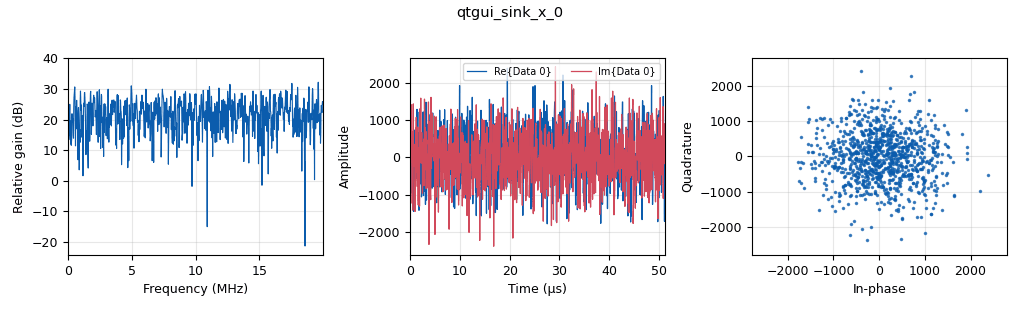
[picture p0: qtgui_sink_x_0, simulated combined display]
<?xml version='1.0' encoding='utf-8'?>
<?grc format='1' created='3.7.11'?>
<flow_graph>
<block>
<key>options</key>
<param><key>id</key><value>top_block</value></param>
<param><key>generate_options</key><value>qt_gui</value></param>
</block>
<block>
<key>variable</key>
<param><key>id</key><value>center_freq</value></param>
<param><key>value</key><value>freq_min+samp_rate/2</value></param>
</block>
<block>
<key>variable</key>
<param><key>id</key><value>freq_max</value></param>
<param><key>value</key><value>gui_freq_max*1e6</value></param>
</block>
<block>
<key>variable</key>
<param><key>id</key><value>freq_min</value></param>
<param><key>value</key><value>gui_freq_min*1e6</value></param>
</block>
<block>
<key>variable_qtgui_range</key>
<param><key>id</key><value>gui_freq_max</value></param>
<param><key>value</key><value>gui_freq_min+samp_rate/1e6</value></param>
<param><key>label</key><value>Higher Frequency (MHz)</value></param>
<param><key>orient</key><value>Qt.Horizontal</value></param>
<param><key>start</key><value>gui_freq_min+samp_rate/1e6</value></param>
<param><key>step</key><value>samp_rate/1e6</value></param>
<param><key>stop</key><value>6000</value></param>
</block>
<block>
<key>variable_qtgui_range</key>
<param><key>id</key><value>gui_freq_min</value></param>
<param><key>value</key><value>0</value></param>
<param><key>label</key><value>Lower Frequency (MHz)</value></param>
<param><key>orient</key><value>Qt.Horizontal</value></param>
<param><key>start</key><value>0</value></param>
<param><key>step</key><value>samp_rate/1e6</value></param>
<param><key>stop</key><value>6000-samp_rate/1e6</value></param>
</block>
<block>
<key>variable_qtgui_range</key>
<param><key>id</key><value>gui_if_gain</value></param>
<param><key>value</key><value>47</value></param>
<param><key>label</key><value>IF Gain (db)</value></param>
<param><key>min_len</key><value>47</value></param>
<param><key>orient</key><value>Qt.Horizontal</value></param>
<param><key>start</key><value>0</value></param>
<param><key>step</key><value>1</value></param>
<param><key>stop</key><value>47</value></param>
</block>
<block>
<key>variable_qtgui_chooser</key>
<param><key>id</key><value>gui_jam_mode</value></param>
<param><key>value</key><value>1</value></param>
<param><key>label0</key><value>Fixed Band (20 MHz)</value></param>
<param><key>label1</key><value>Continuous </value></param>
<param><key>label</key><value>Jammer Mode</value></param>
<param><key>num_opts</key><value>2</value></param>
<param><key>option0</key><value>1</value></param>
<param><key>option1</key><value>2</value></param>
<param><key>orient</key><value>Qt.QHBoxLayout</value></param>
<param><key>type</key><value>int</value></param>
</block>
<block>
<key>variable_qtgui_chooser</key>
<param><key>id</key><value>gui_rf_gain</value></param>
<param><key>value</key><value>14</value></param>
<param><key>label0</key><value>0 db</value></param>
<param><key>label1</key><value>14 db</value></param>
<param><key>label</key><value>RF Gain (db)</value></param>
<param><key>num_opts</key><value>2</value></param>
<param><key>option0</key><value>0</value></param>
<param><key>option1</key><value>14</value></param>
<param><key>orient</key><value>Qt.QHBoxLayout</value></param>
<param><key>type</key><value>int</value></param>
<param><key>widget</key><value>radio_buttons</value></param>
</block>
<block>
<key>variable_qtgui_chooser</key>
<param><key>id</key><value>gui_samp_rate</value></param>
<param><key>value</key><value>20</value></param>
<param><key>label0</key><value>10 Msps</value></param>
<param><key>label1</key><value>20 Msps</value></param>
<param><key>label</key><value>Sample Rate</value></param>
<param><key>num_opts</key><value>2</value></param>
<param><key>option0</key><value>10</value></param>
<param><key>option1</key><value>20</value></param>
<param><key>orient</key><value>Qt.QHBoxLayout</value></param>
<param><key>type</key><value>int</value></param>
</block>
<block>
<key>variable_qtgui_range</key>
<param><key>id</key><value>gui_time_switch</value></param>
<param><key>value</key><value>50</value></param>
<param><key>label</key><value>Frequency Switch Time (ms)</value></param>
<param><key>orient</key><value>Qt.Horizontal</value></param>
<param><key>start</key><value>50</value></param>
<param><key>step</key><value>50</value></param>
<param><key>stop</key><value>1500</value></param>
</block>
<block>
<key>variable_qtgui_range</key>
<param><key>id</key><value>jammer_amp</value></param>
<param><key>value</key><value>50</value></param>
<param><key>orient</key><value>Qt.Horizontal</value></param>
<param><key>start</key><value>1</value></param>
<param><key>step</key><value>1</value></param>
<param><key>stop</key><value>100</value></param>
</block>
<block>
<key>variable</key>
<param><key>id</key><value>samp_rate</value></param>
<param><key>value</key><value>gui_samp_rate*1e6</value></param>
</block>
<block>
<key>variable_qtgui_chooser</key>
<param><key>id</key><value>variable_qtgui_chooser_0</value></param>
<param><key>value</key><value>0</value></param>
<param><key>label0</key><value>433 MHz</value></param>
<param><key>label1</key><value>868 MHz</value></param>
<param><key>label2</key><value>Wifi 2.4GHz</value></param>
<param><key>label3</key><value>Wifi 5.8 GHz</value></param>
<param><key>label4</key><value>GPS</value></param>
<param><key>label</key><value>Preset Bands</value></param>
<param><key>num_opts</key><value>5</value></param>
<param><key>option0</key><value>0</value></param>
<param><key>option1</key><value>1</value></param>
<param><key>option2</key><value>2</value></param>
<param><key>option3</key><value>3</value></param>
<param><key>option4</key><value>4</value></param>
<param><key>type</key><value>int</value></param>
</block>
<block>
<key>analog_noise_source_x</key>
<param><key>id</key><value>analog_noise_source_x_0</value></param>
<param><key>amp</key><value>jammer_amp</value></param>
<param><key>noise_type</key><value>analog.GR_GAUSSIAN</value></param>
<param><key>type</key><value>complex</value></param>
<param><key>seed</key><value>0</value></param>
</block>
<block>
<key>blocks_multiply_const_vxx</key>
<param><key>id</key><value>blocks_multiply_const_vxx_0</value></param>
<param><key>const</key><value>20</value></param>
<param><key>type</key><value>complex</value></param>
</block>
<block>
<key>blocks_throttle</key>
<param><key>id</key><value>blocks_throttle_0</value></param>
<param><key>samples_per_second</key><value>samp_rate</value></param>
<param><key>type</key><value>complex</value></param>
</block>
<block>
<key>osmosdr_sink</key>
<param><key>id</key><value>osmosdr_sink_0</value></param>
<param><key>bb_gain0</key><value>0</value></param>
<param><key>bw0</key><value>samp_rate</value></param>
<param><key>freq0</key><value>center_freq</value></param>
<param><key>if_gain0</key><value>gui_if_gain</value></param>
<param><key>gain0</key><value>gui_rf_gain</value></param>
<param><key>args</key><value></value></param>
<param><key>type</key><value>fc32</value></param>
<param><key>sample_rate</key><value>samp_rate</value></param>
<param><key>sync</key><value></value></param>
</block>
<block>
<key>qtgui_sink_x</key>
<param><key>id</key><value>qtgui_sink_x_0</value></param>
<param><key>bw</key><value>samp_rate</value></param>
<param><key>fc</key><value>center_freq</value></param>
<param><key>freqchangevar</key><value>None</value></param>
<param><key>fftsize</key><value>1024</value></param>
<param><key>showports</key><value>True</value></param>
<param><key>type</key><value>complex</value></param>
<param><key>wintype</key><value>firdes.WIN_BLACKMAN_hARRIS</value></param>
</block>
<connection><source_block_id>analog_noise_source_x_0</source_block_id><sink_block_id>blocks_multiply_const_vxx_0</sink_block_id><source_key>0</source_key><sink_key>0</sink_key></connection>
<connection><source_block_id>blocks_multiply_const_vxx_0</source_block_id><sink_block_id>blocks_throttle_0</sink_block_id><source_key>0</source_key><sink_key>0</sink_key></connection>
<connection><source_block_id>blocks_throttle_0</source_block_id><sink_block_id>osmosdr_sink_0</sink_block_id><source_key>0</source_key><sink_key>0</sink_key></connection>
<connection><source_block_id>blocks_throttle_0</source_block_id><sink_block_id>qtgui_sink_x_0</sink_block_id><source_key>0</source_key><sink_key>0</sink_key></connection>
</flow_graph>
